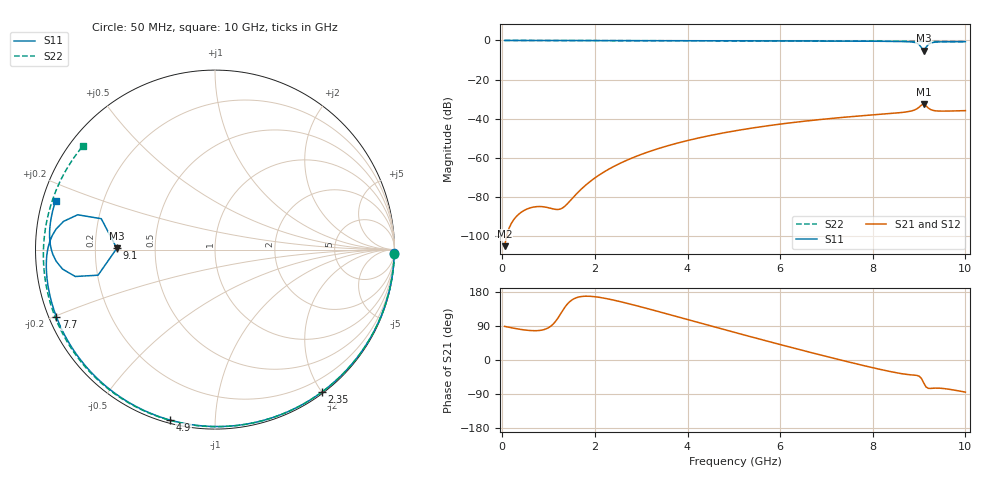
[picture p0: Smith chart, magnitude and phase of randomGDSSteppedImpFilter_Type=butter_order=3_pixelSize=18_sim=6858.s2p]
! freq	dB(S11)	phase(S11)	dB(S12)	phase(S12)
!  dB(S21)	phase(S21)	dB(S22)	phase(S22)
!S-par simulation data
#  GHz  S  DB  R 50
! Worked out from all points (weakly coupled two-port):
!   200 points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, 50 MHz to 10 GHz, reference 50 ohm
!   highest |S21| = -32.58 dB at 9.1 GHz (marker M1); lowest = -105.2 dB at 50 MHz (marker M2)
!   lowest |S11| = -5.2 dB at 9.1 GHz (marker M3), VSWR 3.42, Z = 14.6 + j0.29 ohm
!   |S11| at or under -10 dB: nowhere
!   |S22| runs from -0.6 to 0.0 dB; largest |S21 - S12| = 0
!   S11 on the Smith chart (normalised r, x): 50 MHz: open; 2.35 GHz: 0.02, -2.00; 4.9 GHz: 0.01, -0.77; 7.7 GHz: 0.02, -0.20; 9.1 GHz: 0.29, +0.01; 10 GHz: 0.04, +0.15
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0.05  -0.00 -1.1  -105.16 88.7  -105.16 88.7  -0.00 -1.3
0.75  -0.02 -17.3  -84.93 77.4  -84.93 77.4  -0.03 -20.1
1.5  -0.04 -34.4  -81.06 158.1  -81.06 158.1  -0.05 -39.8
1.55  -0.04 -35.5  -79.75 161.8  -79.75 161.8  -0.05 -41.1
1.75  -0.05 -39.9  -75.02 168.1  -75.02 168.1  -0.06 -46.2
2.35  -0.07 -53.1  -65.13 159.5  -65.13 159.5  -0.08 -61.1
3.4  -0.10 -75.1  -55.05 126.9  -55.05 126.9  -0.11 -85.7
4.1  -0.12 -89.2  -50.60 103.5  -50.60 103.5  -0.14 -101.2
4.9  -0.16 -104.7  -46.72 76.7  -46.72 76.7  -0.17 -117.9
5.05  -0.16 -107.6  -46.10 71.7  -46.10 71.7  -0.18 -120.9
6.7  -0.27 -138.2  -40.82 18.6  -40.82 18.6  -0.28 -153.2
7.7  -0.36 -157.0  -38.61 -11.8  -38.61 -11.8  -0.36 -172.3
8.35  -0.45 -170.2  -37.41 -29.8  -37.41 -29.8  -0.42 175.1
8.9  -0.99 172.6  -35.55 -39.9  -35.55 -39.9  -0.47 164.3
9  -2.05 165.8  -34.13 -42.6  -34.13 -42.6  -0.48 162.3
9.05  -3.65 164.8  -33.06 -48.5  -33.06 -48.5  -0.48 161.3
9.1  -5.24 179.3  -32.58 -60.5  -32.58 -60.5  -0.49 160.3
9.15  -3.52 -167.7  -33.43 -71.1  -33.43 -71.1  -0.49 159.3
9.2  -2.02 -169.1  -34.57 -74.8  -34.57 -74.8  -0.50 158.3
9.3  -1.04 -175.8  -35.73 -74.5  -35.73 -74.5  -0.51 156.2
9.55  -0.67 174.4  -36.12 -75.6  -36.12 -75.6  -0.53 151.1
10  -0.64 163.0  -35.87 -84.8  -35.87 -84.8  -0.58 141.7
